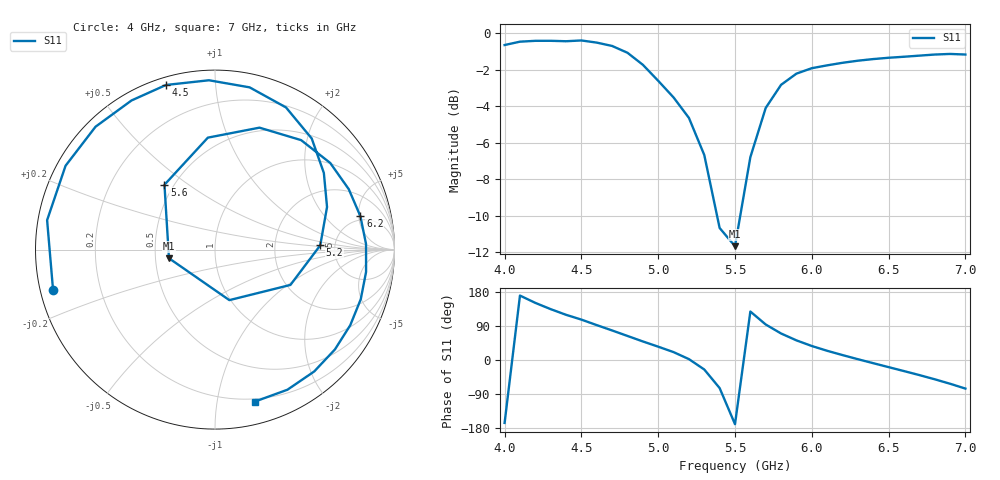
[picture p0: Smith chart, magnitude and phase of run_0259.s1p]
! Touchstone file exported from HFSS 2024.2.0
!  File:  C:/Users/wsak9/Desktop/Sim Fast/Widenad Patch/WP_AI_V1_sweep.aedt
!  Generated:  01:54:22 AM Oct 14, 2026
!  Design:  A1_model
!  Project:  WP_AI_V1_sweep
!  Setup:  Setup1
!  Solution:  Sweep
! Variables:
!  Air_gap = 2.55mm
!  Curve_Amp1 = 3.68
!  Curve_len1 = 1
!  Curve_pos = 10.49mm
!  Extra = 3.36mm
!  H_sub = 0.79mm
!  L_Patch = 16.98mm
!  L_Patch1 = 16.37mm
!  Sx = 3.47mm
!  Sy = 3.01mm
!  WS = 0.37mm
!  W_Patch = 20.87mm
!  W_Patch1 = 13.01mm
!Data is not renormalized
# GHz S MA
! Terminal data exported
! Port[1] = 1
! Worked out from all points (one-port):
!   31 points, 4 GHz to 7 GHz, reference per port
!   lowest |S11| = -11.7 dB at 5.5 GHz (marker M1), VSWR 1.71
!   |S11| at or under -10 dB: 5.383 GHz to 5.534 GHz (150.8 MHz wide, 2.76 % of centre)
!   S11 on the Smith chart (normalised r, x): 4 GHz: 0.04, -0.12; 4.5 GHz: 0.03, +0.75; 5.2 GHz: 3.82, +0.28; 5.6 GHz: 0.45, +0.41; 6.2 GHz: 4.36, +5.26; 7 GHz: 0.18, -1.28
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4  0.9297 -166.1
4.1  0.9496 170.1
4.2  0.9547 150.7
4.3  0.9548 134.2
4.4  0.9523 119.2
4.5  0.957 106.6
4.6  0.944 92.0
4.7  0.9243 78.0
4.8  0.8854 63.5
4.9  0.8207 49.0
5  0.7417 35.1
5.1  0.6677 20.8
5.2  0.5868 2.3
5.3  0.4642 -25.1
5.4  0.2928 -74.1
5.5  0.261 -169.4
5.6  0.4581 127.9
5.7  0.625 93.6
5.8  0.7232 70.0
5.9  0.7761 51.8
6  0.8032 36.9
6.1  0.8177 24.3
6.2  0.8311 13.0
6.3  0.8421 2.1
6.5  0.8579 -18.8
6.7  0.8695 -39.8
6.9  0.8789 -62.7
7  0.8756 -75.4
